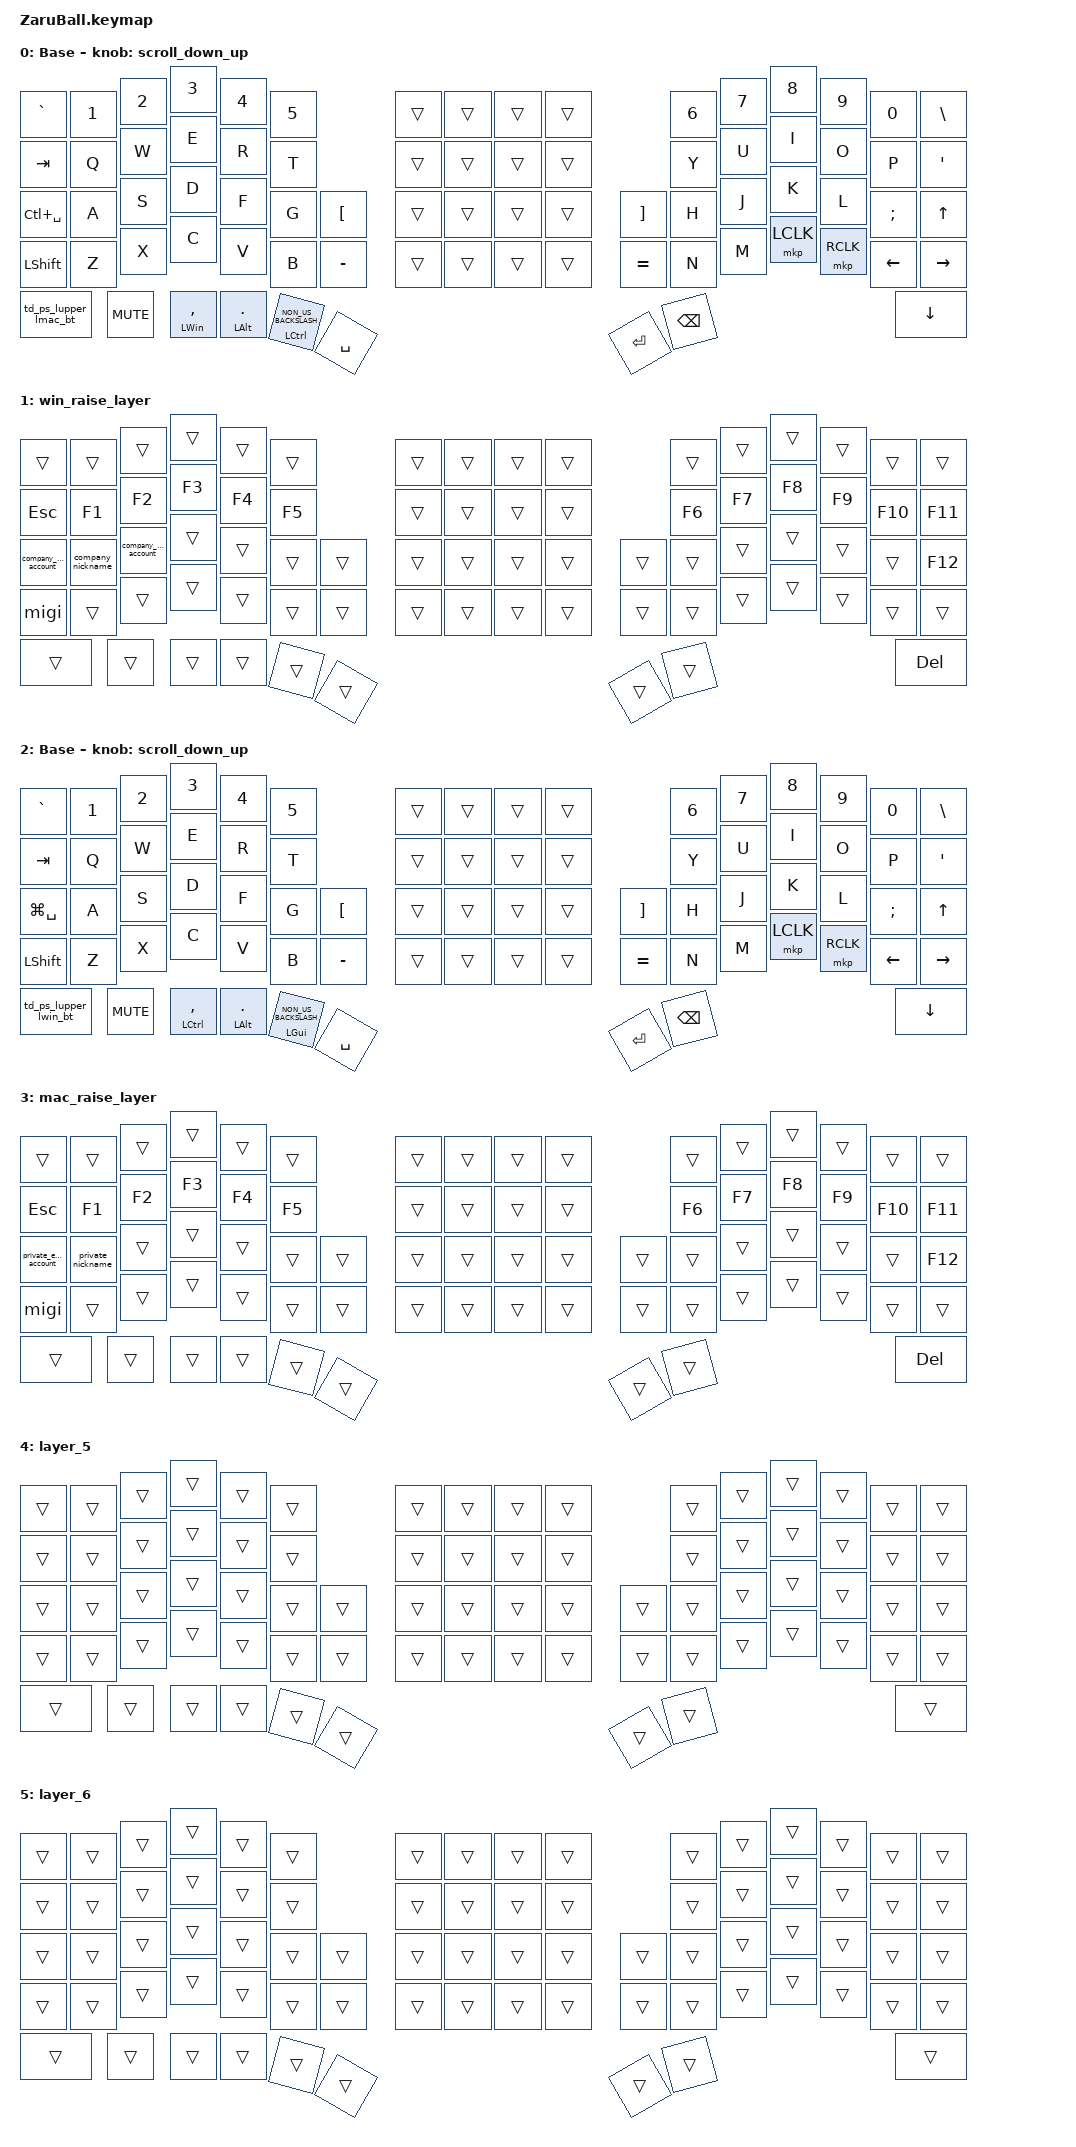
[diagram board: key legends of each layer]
//#include <dt-bindings/zmk/mouse.h>

#include <behaviors/rgbled_widget.dtsi>
#include <behaviors/naginata.dtsi>
#include <behaviors.dtsi>
#include <dt-bindings/zmk/bt.h>
#include <dt-bindings/zmk/keys.h>
#include <dt-bindings/zmk/pointing.h>

#define BASE     0
#define MOUSE    1
#define LOWER    2
#define RAISE    3
#define ADJUST   4
#define SCROLL   2

// スクロール量の設定

#define ZMK_POINTING_DEFAULT_SCRL_VAL 100

/ {
    conditional_layers {
        compatible = "zmk,conditional-layers";

        tri_layer {
            if-layers = <1 1>;
            then-layer = <1>;
        };
    };
};

/ {
    behaviors {
        // スクロール用のbehaviorの設定

        scroll_down_up: behavior_sensor_rotate_mouse_wheel_down_up {
            compatible = "zmk,behavior-sensor-rotate";
            #sensor-binding-cells = <0>;
            bindings = <&msc SCRL_DOWN>, <&msc SCRL_UP>;

            tap-ms = <100>; // スクロールのタップ時間（長くすると均一になる）
        };

        td_ps_lupper_lmac_bt: td_ps_lupper_lmac_bt {
            compatible = "zmk,behavior-tap-dance";
            #binding-cells = <0>;
            tapping-term-ms = <200>;
            bindings = <&lt 1 LS(LC(S))>, <&to 2>, <&bt BT_NXT>;
        };

        td_ps_lupper_lwin_bt: td_ps_lupper_lwin_bt {
            compatible = "zmk,behavior-tap-dance";
            #binding-cells = <0>;
            tapping-term-ms = <200>;
            bindings = <&lt 3 LA(LC(LG(NUMBER_4)))>, <&to 0>, <&bt BT_NXT>;
        };

        // Customed Hold-Tap for SandS
    };
};

&sl { release-after-ms = <250>; }; // time needed for double click (for mkp_exit_AML)
/ {
    macros {
        // When in AML, move to default layer when key (except mouse button) pressed
        // When LCLK pressed, exit AML (after 250ms cause by sticky layer

        company_system_account: company_system_account {
            compatible = "zmk,behavior-macro";
            #binding-cells = <0>;
            bindings = <&kp N &kp A &kp T &kp S &kp U &kp K &kp I &kp DOT &kp Y &kp A &kp M &kp A &kp S &kp H &kp I &kp T &kp A &kp AT &kp A &kp P &kp A &kp C &kp DOT &kp A &kp D &kp E &kp C &kp C &kp O &kp DOT &kp N &kp E &kp T>;
            label = "COMPANY_SYSTEM_ACCOUNT";
        };

        company_email_account: company_email_account {
            compatible = "zmk,behavior-macro";
            #binding-cells = <0>;
            bindings = <&kp N &kp A &kp T &kp S &kp U &kp K &kp I &kp DOT &kp Y &kp A &kp M &kp A &kp S &kp H &kp I &kp T &kp A &kp AT &kp A &kp D &kp E &kp C &kp C &kp O &kp G &kp R &kp O &kp U &kp P &kp DOT &kp C &kp O &kp M>;
            label = "COMPANY_EMAIL_ACCOUNT";
        };

        company_nickname: company_nickname {
            compatible = "zmk,behavior-macro";
            #binding-cells = <0>;
            bindings = <&kp LS(N) &kp A &kp T &kp S &kp U &kp N9 &kp N2 &kp N9 &kp N5 &kp POUND>;
            label = "COMPANY_PASS";
        };

        private_email_account: private_email_account {
            compatible = "zmk,behavior-macro";
            #binding-cells = <0>;
            bindings = <&kp N &kp A &kp T &kp S &kp U &kp K &kp I &kp Y &kp A &kp M &kp A &kp S &kp H &kp I &kp T &kp A &kp N9 &kp N5 &kp AT &kp G &kp M &kp A &kp I &kp L &kp DOT &kp C &kp O &kp M>;
            label = "PRIVATE_EMAIL_ACCOUNT";
        };

        private_nickname: private_nickname {
            compatible = "zmk,behavior-macro";
            #binding-cells = <0>;
            bindings = <&kp N &kp A &kp T &kp S &kp U &kp N9 &kp N2 &kp N9 &kp N5>;
            label = "PRIVATE_PASS";
        };

        migi: migi {
            compatible = "zmk,behavior-macro";
            #binding-cells = <0>;
            bindings = <&kp M &kp I &kp G &kp I &kp SPACE>;
            label = "MIGI";
        };
    };
};

/ {
    keymap {
        compatible = "zmk,keymap";

        win_base_layer {
            display-name = "Base";
            sensor-bindings = <&scroll_down_up>;
            bindings = <
&kp GRAVE              &kp N1      &kp N2  &kp N3          &kp N4           &kp N5                                   &trans  &trans  &trans  &trans               &kp NUMBER_6  &kp N7  &kp N8     &kp N9     &kp N0    &kp BSLH
&kp TAB                &kp Q       &kp W   &kp E           &kp R            &kp T                                    &trans  &trans  &trans  &trans               &kp Y         &kp U   &kp I      &kp O      &kp P     &kp SQT
&kp LC(SPACE)          &kp A       &kp S   &kp D           &kp F            &kp G                       &kp LBKT     &trans  &trans  &trans  &trans    &kp RBKT   &kp H         &kp J   &kp K      &kp L      &kp SEMI  &kp UP
&kp LSHFT              &kp Z       &kp X   &kp C           &kp V            &kp B                       &kp MINUS    &trans  &trans  &trans  &trans    &kp EQUAL  &kp N         &kp M   &mkp LCLK  &mkp RCLK  &kp LEFT  &kp RIGHT
&td_ps_lupper_lmac_bt  &kp C_MUTE          &mt LWIN COMMA  &mt LALT PERIOD  &mt LCTRL NON_US_BACKSLASH  &kp SPACE                                      &kp ENTER  &kp BSPC                                              &kp DOWN
            >;
        };

        win_raise_layer {
            bindings = <
&trans                   &trans             &trans                  &trans  &trans  &trans            &trans  &trans  &trans  &trans            &trans  &trans  &trans  &trans  &trans   &trans
&kp ESCAPE               &kp F1             &kp F2                  &kp F3  &kp F4  &kp F5            &trans  &trans  &trans  &trans            &kp F6  &kp F7  &kp F8  &kp F9  &kp F10  &kp F11
&company_system_account  &company_nickname  &company_email_account  &trans  &trans  &trans  &trans    &trans  &trans  &trans  &trans    &trans  &trans  &trans  &trans  &trans  &trans   &kp F12
&migi                    &trans             &trans                  &trans  &trans  &trans  &trans    &trans  &trans  &trans  &trans    &trans  &trans  &trans  &trans  &trans  &trans   &trans
&trans                   &trans                                     &trans  &trans  &trans  &trans                                      &trans  &trans                                   &kp DELETE
            >;
        };

        mac_base_layer {
            display-name = "Base";
            bindings = <
&kp GRAVE              &kp N1      &kp N2  &kp N3           &kp N4           &kp N5                                  &trans  &trans  &trans  &trans               &kp NUMBER_6  &kp N7  &kp N8     &kp N9     &kp N0    &kp BSLH
&kp TAB                &kp Q       &kp W   &kp E            &kp R            &kp T                                   &trans  &trans  &trans  &trans               &kp Y         &kp U   &kp I      &kp O      &kp P     &kp SQT
&kp LG(SPACE)          &kp A       &kp S   &kp D            &kp F            &kp G                      &kp LBKT     &trans  &trans  &trans  &trans    &kp RBKT   &kp H         &kp J   &kp K      &kp L      &kp SEMI  &kp UP
&kp LSHFT              &kp Z       &kp X   &kp C            &kp V            &kp B                      &kp MINUS    &trans  &trans  &trans  &trans    &kp EQUAL  &kp N         &kp M   &mkp LCLK  &mkp RCLK  &kp LEFT  &kp RIGHT
&td_ps_lupper_lwin_bt  &kp C_MUTE          &mt LCTRL COMMA  &mt LALT PERIOD  &mt LGUI NON_US_BACKSLASH  &kp SPACE                                      &kp ENTER  &kp BSPC                                              &kp DOWN
            >;

            sensor-bindings = <&scroll_down_up>;
        };

        mac_raise_layer {
            bindings = <
&trans                  &trans             &trans  &trans  &trans  &trans            &trans  &trans  &trans  &trans            &trans  &trans  &trans  &trans  &trans   &trans
&kp ESCAPE              &kp F1             &kp F2  &kp F3  &kp F4  &kp F5            &trans  &trans  &trans  &trans            &kp F6  &kp F7  &kp F8  &kp F9  &kp F10  &kp F11
&private_email_account  &private_nickname  &trans  &trans  &trans  &trans  &trans    &trans  &trans  &trans  &trans    &trans  &trans  &trans  &trans  &trans  &trans   &kp F12
&migi                   &trans             &trans  &trans  &trans  &trans  &trans    &trans  &trans  &trans  &trans    &trans  &trans  &trans  &trans  &trans  &trans   &trans
&trans                  &trans                     &trans  &trans  &trans  &trans                                      &trans  &trans                                   &kp DELETE
            >;
        };

        layer_5 {
            bindings = <
&trans  &trans  &trans  &trans  &trans  &trans            &trans  &trans  &trans  &trans            &trans  &trans  &trans  &trans  &trans  &trans
&trans  &trans  &trans  &trans  &trans  &trans            &trans  &trans  &trans  &trans            &trans  &trans  &trans  &trans  &trans  &trans
&trans  &trans  &trans  &trans  &trans  &trans  &trans    &trans  &trans  &trans  &trans    &trans  &trans  &trans  &trans  &trans  &trans  &trans
&trans  &trans  &trans  &trans  &trans  &trans  &trans    &trans  &trans  &trans  &trans    &trans  &trans  &trans  &trans  &trans  &trans  &trans
&trans  &trans          &trans  &trans  &trans  &trans                                      &trans  &trans                                  &trans
            >;
        };

        layer_6 {
            bindings = <
&trans  &trans  &trans  &trans  &trans  &trans            &trans  &trans  &trans  &trans            &trans  &trans  &trans  &trans  &trans  &trans
&trans  &trans  &trans  &trans  &trans  &trans            &trans  &trans  &trans  &trans            &trans  &trans  &trans  &trans  &trans  &trans
&trans  &trans  &trans  &trans  &trans  &trans  &trans    &trans  &trans  &trans  &trans    &trans  &trans  &trans  &trans  &trans  &trans  &trans
&trans  &trans  &trans  &trans  &trans  &trans  &trans    &trans  &trans  &trans  &trans    &trans  &trans  &trans  &trans  &trans  &trans  &trans
&trans  &trans          &trans  &trans  &trans  &trans                                      &trans  &trans                                  &trans
            >;
        };
    };
};
